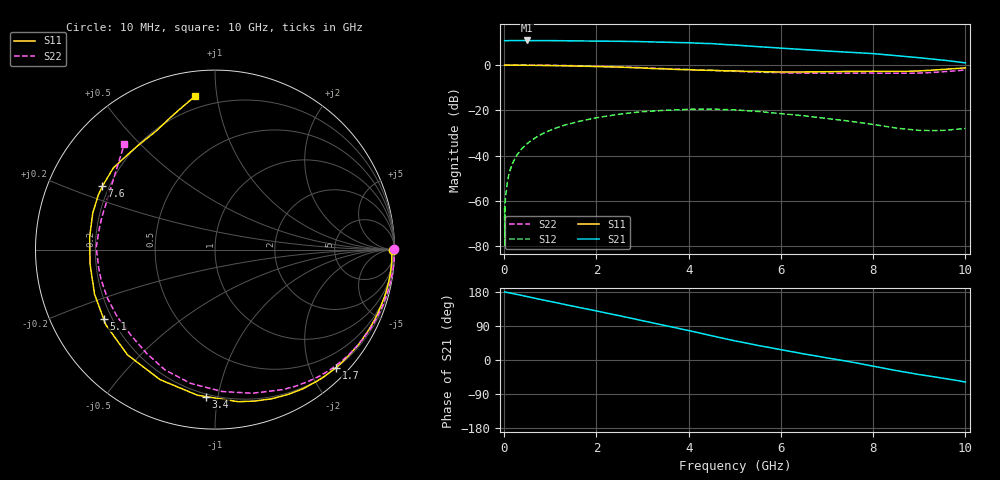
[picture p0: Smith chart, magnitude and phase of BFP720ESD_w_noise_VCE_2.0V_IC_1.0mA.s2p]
! Infineon Technologies  Discrete & RF Semiconductors
! BFP720ESD
! VCE =  2.0 V,  IC =  1.0 mA
! Common Emitter S-Parameters:  Jan 2016
# GHz  S  MA  R  50
!  f  S11  S21  S12  S22
! GHz  MAG  ANG  MAG  ANG  MAG  ANG  MAG  ANG
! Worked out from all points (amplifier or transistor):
!   233 points, 10 MHz to 10 GHz, reference 50 ohm
!   highest |S21| = 10.8 dB at 500 MHz (marker M1)
!   |S21| within 3 dB of that: start of sweep to 5.697 GHz
!   unconditionally stable (mu >= 1): 7.61 GHz to 9.886 GHz
!   at 200 MHz: K = 0.01, MSG = 26.8 dB, |S12| = -42.7 dB
!   at 1.74 GHz: K = 0.15, MSG = 17.5 dB, |S12| = -24.4 dB
!   at 10 GHz: K = 0.81, MSG = 14.5 dB, |S12| = -28.0 dB
!   lowest NFmin = 0.56 dB at 450 MHz
!   S11 on the Smith chart (normalised r, x): 10 MHz: open; 1.7 GHz: 0.21, -2.45; 3.4 GHz: 0.18, -0.92; 5.1 GHz: 0.17, -0.28; 7.6 GHz: 0.17, +0.25; 10 GHz: 0.13, +0.87
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0.01  0.9917 0.0  3.453 179.3  0.0007 -105.3  1 0.3
0.015  0.9912 -0.2  3.434 179.4  0.0001 126.7  0.9993 0.1
0.02  0.9907 -0.5  3.415 179.6  0.0009 88.9  0.9987 -0.2
0.06  0.9853 -1.4  3.424 178.3  0.0022 84.3  0.9997 -1.1
0.1  0.9859 -2.5  3.446 177.7  0.0037 86.9  0.9998 -2.0
0.26  0.9863 -6.6  3.452 173.4  0.0096 84.3  0.9988 -5.3
0.5  0.983 -12.7  3.468 167.3  0.0184 79.1  0.9949 -10.2
1.1  0.9653 -28.3  3.436 152.1  0.0397 65.7  0.9784 -22.6
1.68  0.9428 -43.7  3.382 137.3  0.0585 52.8  0.9548 -34.8
1.7  0.9423 -44.2  3.38 136.8  0.0591 52.4  0.954 -35.2
2.6  0.8889 -69.3  3.319 114.2  0.0843 32.7  0.8999 -54.7
3  0.8572 -81.3  3.276 103.7  0.0929 23.5  0.8678 -63.9
3.4  0.8203 -93.6  3.189 93.2  0.0985 14.4  0.8325 -73.0
4  0.7866 -112.9  3.095 77.6  0.105 1.5  0.7914 -87.2
4.5  0.7625 -129.8  2.958 63.8  0.1063 -10.0  0.7576 -100.4
5.1  0.7305 -148.2  2.702 48.2  0.1001 -22.7  0.717 -114.7
6  0.7007 -173.5  2.355 27.1  0.0849 -38.2  0.669 -134.2
6.8  0.7043 167.6  2.084 9.9  0.0696 -46.6  0.6564 -151.8
7.6  0.7201 150.7  1.878 -6.9  0.0554 -50.8  0.6563 -170.6
8.4  0.7191 131.0  1.636 -25.6  0.0419 -48.5  0.6552 168.9
9  0.7376 116.4  1.441 -38.5  0.0359 -37.7  0.6635 154.2
10  0.861 97.5  1.11 -58.1  0.0397 -19.2  0.7748 130.7
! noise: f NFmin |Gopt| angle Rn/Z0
0.45  0.56  0.81  6  0.42
0.9  0.59  0.81  16  0.4
1.9  0.79  0.7  38  0.38
2.4  0.92  0.68  50  0.39
5.5  1.52  0.49  133  0.12
10  3.38  0.7  -109  0.85
